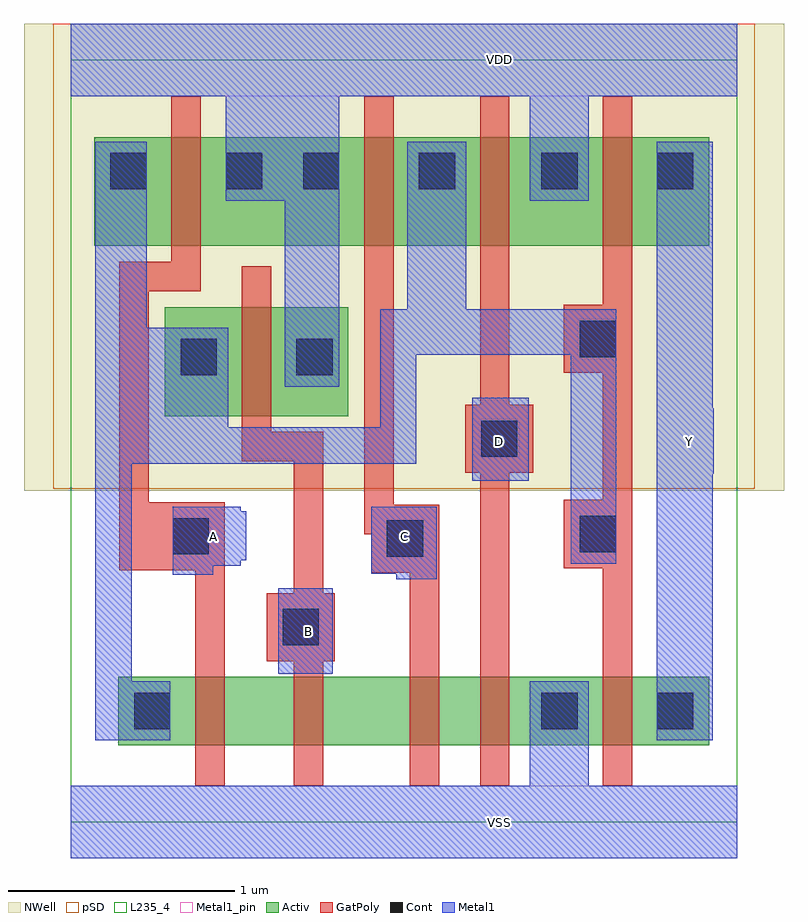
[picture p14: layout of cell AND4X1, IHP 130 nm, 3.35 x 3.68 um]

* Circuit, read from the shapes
.subckt AND4X1 A B C D VDD VSS Y
XM1 n1 A n2 VSUBS sg13_lv_nmos w=0.3u l=0.13u
XM2 n3 B n1 VSUBS sg13_lv_nmos w=0.3u l=0.13u
XM3 n4 C n3 VSUBS sg13_lv_nmos w=0.3u l=0.13u
XM4 VSS D n4 VSUBS sg13_lv_nmos w=0.3u l=0.13u
XM5 Y n2 VSS VSUBS sg13_lv_nmos w=0.3u l=0.13u
XM6 VDD A n2 n5 sg13_lv_pmos w=0.48u l=0.13u
XM7 VDD B n2 n5 sg13_lv_pmos w=0.48u l=0.13u
XM8 n2 C VDD n5 sg13_lv_pmos w=0.48u l=0.13u
XM9 VDD D n2 n5 sg13_lv_pmos w=0.48u l=0.13u
XM10 Y n2 VDD n5 sg13_lv_pmos w=0.48u l=0.13u
.ends

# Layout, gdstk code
import gdstk
lib = gdstk.Library(unit=1e-6, precision=1e-09)
def R(c, l, rs):  # rectangles x0, y0, x1, y1
    for r in rs: c.add(gdstk.rectangle(r[:2], r[2:], *l))
def P(c, l, *ps):  # polygons
    for p in ps: c.add(gdstk.Polygon(p, *l))
Activ = (1, 0)
GatPoly = (5, 0)
Cont = (6, 0)
Metal1 = (8, 0)
Metal1_pin = (8, 2)
pSD = (14, 0)
NWell = (31, 0)
L235_4 = (235, 4)

and4x1 = lib.new_cell('AND4X1')
R(and4x1, Activ, [(0.21,0.34,2.815,0.64), (0.415,1.79,1.225,2.27), (0.105,2.54,2.815,3.02)])
P(and4x1, GatPoly, [(1.165,1.01),(1.115,1.01),(1.115,1.72),(0.885,1.72),(0.885,2.45),(0.755,2.45),(0.755,1.59),(0.985,1.59),(0.985,1.01),(0.865,1.01),(0.865,0.71),(0.985,0.71),(0.985,0.16),(1.115,0.16),(1.115,0.71),(1.165,0.71)],
  [(2.04,1.84),(1.935,1.84),(1.935,3.2),(1.805,3.2),(1.805,1.84),(1.74,1.84),(1.74,1.54),(1.805,1.54),(1.805,0.16),(1.935,0.16),(1.935,1.54),(2.04,1.54)],
  [(0.68,1.41),(0.345,1.41),(0.345,2.34),(0.575,2.34),(0.575,3.2),(0.445,3.2),(0.445,2.47),(0.215,2.47),(0.215,1.11),(0.55,1.11),(0.55,0.16),(0.68,0.16)],
  [(1.625,1.4),(1.425,1.4),(1.425,3.2),(1.295,3.2),(1.295,1.27),(1.325,1.27),(1.325,1.1),(1.495,1.1),(1.495,0.16),(1.625,0.16)],
  [(2.475,3.2),(2.345,3.2),(2.345,2.28),(2.175,2.28),(2.175,1.98),(2.345,1.98),(2.345,1.42),(2.175,1.42),(2.175,1.12),(2.345,1.12),(2.345,0.16),(2.475,0.16)])
R(and4x1, Cont, [(0.28,0.41,0.44,0.57), (2.075,0.41,2.235,0.57), (2.585,0.41,2.745,0.57), (0.935,0.78,1.095,0.94), (1.395,1.17,1.555,1.33), (0.45,1.18,0.61,1.34), (2.245,1.19,2.405,1.35), (1.81,1.61,1.97,1.77), (0.485,1.97,0.645,2.13), (0.995,1.97,1.155,2.13), (2.245,2.05,2.405,2.21), (0.175,2.79,0.335,2.95), (0.685,2.79,0.845,2.95), (1.025,2.79,1.185,2.95), (1.535,2.79,1.695,2.95), (2.075,2.79,2.235,2.95), (2.585,2.79,2.745,2.95)])
R(and4x1, Metal1, [(0.915,0.655,1.155,1.03), (1.77,1.505,2.02,1.87)])
P(and4x1, Metal1, [(2.835,1.825),(2.83,1.825),(2.83,3),(2.585,3),(2.585,0.36),(2.83,0.36),(2.83,1.535),(2.835,1.535)],
  [(1.615,1.39),(1.325,1.39),(1.325,1.095),(1.435,1.095),(1.435,1.07),(1.615,1.07)],
  [(2.94,0.16),(2.285,0.16),(2.285,0.62),(2.025,0.62),(2.025,0.16),(0,0.16),(0,-0.16),(2.94,-0.16)],
  [(2.94,3.52),(0,3.52),(0,3.2),(0.685,3.2),(0.685,2.74),(0.945,2.74),(0.945,1.92),(1.185,1.92),(1.185,3.2),(2.025,3.2),(2.025,2.74),(2.285,2.74),(2.285,3.2),(2.94,3.2)],
  [(0.775,1.37),(0.75,1.37),(0.75,1.39),(0.45,1.39),(0.45,1.09),(0.63,1.09),(0.63,1.13),(0.75,1.13),(0.75,1.155),(0.775,1.155)],
  [(2.405,2.26),(1.745,2.26),(1.745,3),(1.485,3),(1.485,2.26),(1.365,2.26),(1.365,1.74),(0.695,1.74),(0.695,2.18),(0.335,2.18),(0.335,3),(0.11,3),(0.11,0.36),(0.44,0.36),(0.44,0.62),(0.27,0.62),(0.27,1.58),(1.525,1.58),(1.525,2.06),(2.205,2.06),(2.205,1.14),(2.405,1.14)])
R(and4x1, Metal1_pin, [(0,-0.16,2.94,0.16), (0.915,0.655,1.155,1.03), (1.325,1.095,1.615,1.39), (0.45,1.155,0.775,1.37), (1.77,1.505,2.02,1.87), (2.585,1.535,2.835,1.825), (0,3.2,2.94,3.52)])
P(and4x1, Metal1_pin, [(2.835,1.825),(2.83,1.825),(2.83,3),(2.585,3),(2.585,0.36),(2.83,0.36),(2.83,1.535),(2.835,1.535)],
  [(0.775,1.37),(0.75,1.37),(0.75,1.39),(0.45,1.39),(0.45,1.09),(0.63,1.09),(0.63,1.13),(0.75,1.13),(0.75,1.155),(0.775,1.155)],
  [(1.615,1.39),(1.325,1.39),(1.325,1.095),(1.435,1.095),(1.435,1.07),(1.615,1.07)])
R(and4x1, pSD, [(-0.075,1.47,3.015,3.52)])
R(and4x1, NWell, [(-0.205,1.46,3.145,3.52)])
R(and4x1, L235_4, [(0,0,2.94,3.36)])
and4x1.add(gdstk.Label('Y', (2.73,1.68), layer=8, texttype=25))
and4x1.add(gdstk.Label('A', (0.63,1.26), layer=8, texttype=25))
and4x1.add(gdstk.Label('B', (1.05,0.84), layer=8, texttype=25))
and4x1.add(gdstk.Label('D', (1.89,1.68), layer=8, texttype=25))
and4x1.add(gdstk.Label('VDD', (1.89,3.36), layer=8, texttype=25))
and4x1.add(gdstk.Label('C', (1.47,1.26), layer=8, texttype=25))
and4x1.add(gdstk.Label('VSS', (1.89,0), layer=8, texttype=25))

lib.write_gds('AND4X1.gds')
